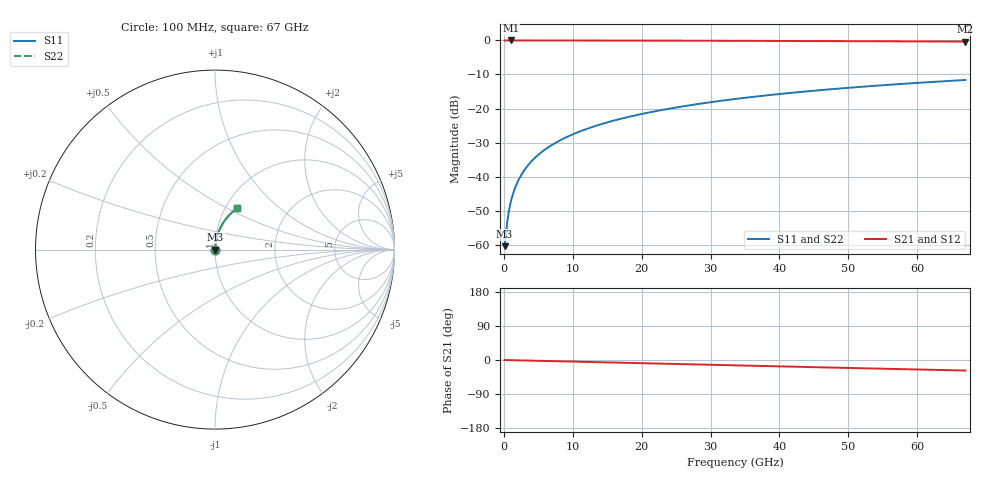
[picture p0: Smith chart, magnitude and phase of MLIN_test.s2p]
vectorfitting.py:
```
import skrf
import numpy as np
from io import StringIO


def get_spice_subcircuit_s(vector_fitting, fitted_model_name='s_equivalent', create_reference_pins=False):
    """
    Generates a SPICE subcircuit string for the vector fitted S-parameter model in memory.

    Parameters:
        vector_fitting (skrf.VectorFitting): The fitted VectorFitting object.
        fitted_model_name (str): Name of the resulting subcircuit, default 's_equivalent'.
        create_reference_pins (bool): If True, include reference pins for each port.
                                     If False, reference nodes are connected to ground (0).

    Returns:
        str: The SPICE subcircuit definition as a string.
    """
    # Create a StringIO buffer to capture the output
    output = StringIO()

    # Extract necessary attributes
    network = vector_fitting.network
    n_ports = network.nports
    poles = vector_fitting.poles
    residues = vector_fitting.residues
    proportional_coeff = vector_fitting.proportional_coeff
    constant_coeff = vector_fitting.constant_coeff
    build_e = np.any(proportional_coeff)

    # Write header
    output.write('* EQUIVALENT CIRCUIT FOR VECTOR FITTED S-MATRIX\n')
    output.write('* Created using custom vector fitting script\n')
    output.write('*\n')

    # Create subcircuit pin string
    if create_reference_pins:
        str_input_nodes = ' '.join(f'p{x + 1} p{x + 1}_ref' for x in range(n_ports))
    else:
        str_input_nodes = ' '.join(f'p{x + 1}' for x in range(n_ports))

    output.write(f'.SUBCKT {fitted_model_name} {str_input_nodes}\n')

    for i in range(n_ports):
        output.write('*\n')
        output.write(f'* Port network for port {i + 1}\n')

        # Reference node
        node_ref_i = f'p{i + 1}_ref' if create_reference_pins else '0'

        # Reference impedance
        z0_i = np.real(network.z0[0, i])
        gain_vccs_a_i = 1 / 2 / np.sqrt(z0_i)
        gain_cccs_a_i = np.sqrt(z0_i) / 2
        gain_b_i = 2 / np.sqrt(z0_i)

        # Dummy voltage source for port current sensing
        output.write(f'V{i + 1} p{i + 1} s{i + 1} 0\n')
        output.write(f'R{i + 1} s{i + 1} {node_ref_i} {z0_i}\n')

        # Transfer of states and inputs from port j to port i
        for j in range(n_ports):
            node_ref_j = f'p{j + 1}_ref' if create_reference_pins else '0'
            z0_j = np.real(network.z0[0, j])
            gain_vccs_a_j = 1 / 2 / np.sqrt(z0_j)
            gain_cccs_a_j = np.sqrt(z0_j) / 2
            idx_S_i_j = i * n_ports + j

            d = constant_coeff[idx_S_i_j] if constant_coeff is not None else 0.0
            e = proportional_coeff[idx_S_i_j] if proportional_coeff is not None else 0.0

            if d != 0.0:
                g_ij = gain_b_i * d * gain_vccs_a_j
                f_ij = gain_b_i * d * gain_cccs_a_j
                output.write(f'Gd{i + 1}_{j + 1} {node_ref_i} s{i + 1} p{j + 1} {node_ref_j} {g_ij}\n')
                output.write(f'Fd{i + 1}_{j + 1} {node_ref_i} s{i + 1} V{j + 1} {f_ij}\n')

            if build_e and e != 0.0:
                g_ij = gain_b_i * e
                output.write(f'Ge{i + 1}_{j + 1} {node_ref_i} s{i + 1} e{j + 1} 0 {g_ij}\n')

            # Residue contributions
            for k in range(len(poles)):
                pole = poles[k]
                residue = residues[idx_S_i_j, k]
                g_re = gain_b_i * np.real(residue)
                g_im = gain_b_i * np.imag(residue)

                if np.imag(pole) == 0.0:
                    xkj = f'x{k + 1}_a{j + 1}'
                    output.write(f'Gr{k + 1}_{i + 1}_{j + 1} {node_ref_i} s{i + 1} {xkj} 0 {g_re}\n')
                else:
                    xk_re_j = f'x{k + 1}_re_a{j + 1}'
                    xk_im_j = f'x{k + 1}_im_a{j + 1}'
                    output.write(f'Gr{k + 1}_re_{i + 1}_{j + 1} {node_ref_i} s{i + 1} {xk_re_j} 0 {g_re}\n')
                    output.write(f'Gr{k + 1}_im_{i + 1}_{j + 1} {node_ref_i} s{i + 1} {xk_im_j} 0 {g_im}\n')

        # State networks driven by port i
        output.write('*\n')
        output.write(f'* State networks driven by port {i + 1}\n')
        for k in range(len(poles)):
            pole = poles[k]
            pole_re = np.real(pole)
            pole_im = np.imag(pole)

            if pole_im == 0.0:
                xki = f'x{k + 1}_a{i + 1}'
                output.write(f'Cx{k + 1}_a{i + 1} {xki} 0 1.0\n')
                output.write(f'Gx{k + 1}_a{i + 1} 0 {xki} p{i + 1} {node_ref_i} {1 * gain_vccs_a_i}\n')
                output.write(f'Fx{k + 1}_a{i + 1} 0 {xki} V{i + 1} {1 * gain_cccs_a_i}\n')
                output.write(f'Rp{k + 1}_a{i + 1} 0 {xki} {-1 / pole_re}\n')
            else:
                xk_re_i = f'x{k + 1}_re_a{i + 1}'
                xk_im_i = f'x{k + 1}_im_a{i + 1}'
                output.write(f'Cx{k + 1}_re_a{i + 1} {xk_re_i} 0 1.0\n')
                output.write(f'Gx{k + 1}_re_a{i + 1} 0 {xk_re_i} p{i + 1} {node_ref_i} {2 * gain_vccs_a_i}\n')
                output.write(f'Fx{k + 1}_re_a{i + 1} 0 {xk_re_i} V{i + 1} {2 * gain_cccs_a_i}\n')
                output.write(f'Rp{k + 1}_re_re_a{i + 1} 0 {xk_re_i} {-1 / pole_re}\n')
                output.write(f'Gp{k + 1}_re_im_a{i + 1} 0 {xk_re_i} {xk_im_i} 0 {pole_im}\n')
                output.write(f'Cx{k + 1}_im_a{i + 1} {xk_im_i} 0 1.0\n')
                output.write(f'Gp{k + 1}_im_re_a{i + 1} 0 {xk_im_i} {xk_re_i} 0 {-1 * pole_im}\n')
                output.write(f'Rp{k + 1}_im_im_a{i + 1} 0 {xk_im_i} {-1 / pole_re}\n')

        # Differentiation network for proportional term
        if build_e:
            output.write('*\n')
            output.write(f'* Network with derivative of input a_{i + 1} for proportional term\n')
            output.write(f'Le{i + 1} e{i + 1} 0 1.0\n')
            output.write(f'Ge{i + 1} 0 e{i + 1} p{i + 1} {node_ref_i} {gain_vccs_a_i}\n')
            output.write(f'Fe{i + 1} 0 e{i + 1} V{i + 1} {gain_cccs_a_i}\n')

    output.write(f'.ENDS {fitted_model_name}\n')

    # Get the string and close the buffer
    subcircuit_str = output.getvalue()
    output.close()
    return subcircuit_str


class SParamProcessor:
    """Class to process S-parameters, optionally perform vector fitting, and generate SPICE subcircuits."""

    def __init__(self, s_params, freqs, z0=50.0, name='network'):
        """
        Initialize with S-parameters and frequency data.

        Args:
            s_params (ndarray): S-parameter matrix of shape (n_ports, n_ports, n_freqs).
            freqs (ndarray): Frequency points in Hz.
            z0 (float or ndarray): Reference impedance(s), default 50.0 Ohms.
            name (str): Name for the network, default 'network'.
        """
        self.s_params = np.asarray(s_params)
        self.freqs = np.asarray(freqs)
        self.z0 = z0 if np.isscalar(z0) else np.asarray(z0)
        self.name = name
        self.network = None
        self.vf = None
        self.subcircuits = {}

        # Validate shapes
        if self.s_params.ndim != 3:
            raise ValueError(f"S-parameters must be 3D, got shape {self.s_params.shape}")
        n_ports1, n_ports2, n_freqs = self.s_params.shape
        if n_ports1 != n_ports2:
            raise ValueError(f"S-parameter matrix must be square in port dimensions, got {n_ports1}x{n_ports2}")
        if len(self.freqs) != n_freqs:
            raise ValueError(
                f"Frequency array length {len(self.freqs)} does not match s_params freq dimension {n_freqs}")

        # Create scikit-rf Network
        self._create_network()

    def _create_network(self):
        """Create a scikit-rf Network object from S-parameters."""
        # Transpose s_params to (n_freqs, n_ports, n_ports) for scikit-rf
        s_params_transposed = np.transpose(self.s_params, (2, 0, 1))
        # Convert frequencies to GHz as scikit-rf expects
        freqs_ghz = self.freqs / 1e9
        # Ensure z0 is an array matching number of ports
        n_ports = self.s_params.shape[0]
        if np.isscalar(self.z0):
            z0_array = np.full(n_ports, self.z0)
        else:
            z0_array = self.z0
            if len(z0_array) != n_ports:
                raise ValueError(f"z0 length {len(z0_array)} does not match number of ports {n_ports}")

        self.network = skrf.Network(frequency=freqs_ghz, s=s_params_transposed, z0=z0_array, name=self.name)

    def perform_vector_fitting(self, **vf_params):
        """
        Perform vector fitting on the S-parameters.

        Args:
            **vf_params: Parameters for skrf.VectorFitting.auto_fit (e.g., n_poles_init_real, target_error).
        """
        self.vf = skrf.VectorFitting(self.network)
        self.vf.auto_fit(**vf_params)

    def generate_subcircuit(self, fitted_model_name='s_equivalent', create_reference_pins=False):
        """
        Generate a SPICE subcircuit string in memory.

        Args:
            fitted_model_name (str): Name of the subcircuit.
            create_reference_pins (bool): If True, include reference pins for each port.

        Returns:
            str: SPICE subcircuit string.
        """
        if self.vf is None:
            raise ValueError("Vector fitting must be performed before generating subcircuit.")
        subcircuit = get_spice_subcircuit_s(self.vf, fitted_model_name, create_reference_pins)
        self.subcircuits[fitted_model_name] = subcircuit
        return subcircuit

    def get_network(self):
        """Return the scikit-rf Network object."""
        return self.network

    def get_subcircuits(self):
        """Return dictionary of generated subcircuits."""
        return self.subcircuits


# Example usage
if __name__ == "__main__":
    # Example with a pre-existing .s4p file
    nw_3port = skrf.Network('MLIN_test.s2p')
    processor = SParamProcessor(nw_3port.s, nw_3port.f, z0=nw_3port.z0, name='test_network')
    processor.perform_vector_fitting(
        n_poles_init_real=3,
        n_poles_init_cmplx=6,
        n_poles_add=5,
        model_order_max=100,
        iters_start=3,
        iters_inter=3,
        iters_final=5,
        target_error=0.01,
        alpha=0.03,
        gamma=0.03,
        nu_samples=1.0,
        parameter_type='s'
    )
    subcircuit_1 = processor.generate_subcircuit(fitted_model_name='s_equivalent_1', create_reference_pins=False)
    subcircuit_2 = processor.generate_subcircuit(fitted_model_name='s_equivalent_2', create_reference_pins=True)
    # print(subcircuit_1)
    # print()
    # print(subcircuit_2)
```
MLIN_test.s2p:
! Touchstone Ver. 1.0
! Number of ports is 2
# Hz  S RI  R  50
! SCATTERING PARAMETERS  :
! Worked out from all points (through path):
!   670 points, 100 MHz to 67 GHz, reference 50 ohm
!   highest |S21| = -0.01 dB at 1 GHz (marker M1); lowest = -0.3 dB at 67 GHz (marker M2)
!   group delay of S21, straight-line fit = 1.16 ps
!   lowest |S11| = -60.4 dB at 100 MHz (marker M3), VSWR 1.00, Z = 50.1 + j0.0419 ohm
!   |S11| at or under -10 dB: start of sweep to end of sweep
!   |S22| runs from -60.4 to -11.6 dB; largest |S21 - S12| = 0
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1e8  0.000856 0.000418  0.9991 -0.000743  0.9991 -0.000743  0.000856 0.000418
7e8  0.000725 0.00293  0.9993 -0.0052  0.9993 -0.0052  0.000725 0.00293
1e9  0.00071 0.00419  0.9993 -0.00743  0.9993 -0.00743  0.00071 0.00419
1.5e9  0.00078 0.00628  0.9992 -0.0111  0.9992 -0.0111  0.00078 0.00628
2.1e9  0.000885 0.00879  0.9991 -0.0156  0.9991 -0.0156  0.000885 0.00879
3.7e9  0.00127 0.0155  0.9986 -0.0275  0.9986 -0.0275  0.00127 0.0155
6.1e9  0.00217 0.0255  0.9976 -0.0453  0.9976 -0.0453  0.00217 0.0255
9.3e9  0.00393 0.0387  0.9955 -0.0689  0.9955 -0.0689  0.00393 0.0387
1.89e10  0.0127 0.0777  0.9852 -0.139  0.9852 -0.139  0.0127 0.0777
3.36e10  0.0361 0.1334  0.9576 -0.2425  0.9576 -0.2425  0.0361 0.1334
6.7e10  0.1252 0.2308  0.8501 -0.4486  0.8501 -0.4486  0.1252 0.2308
